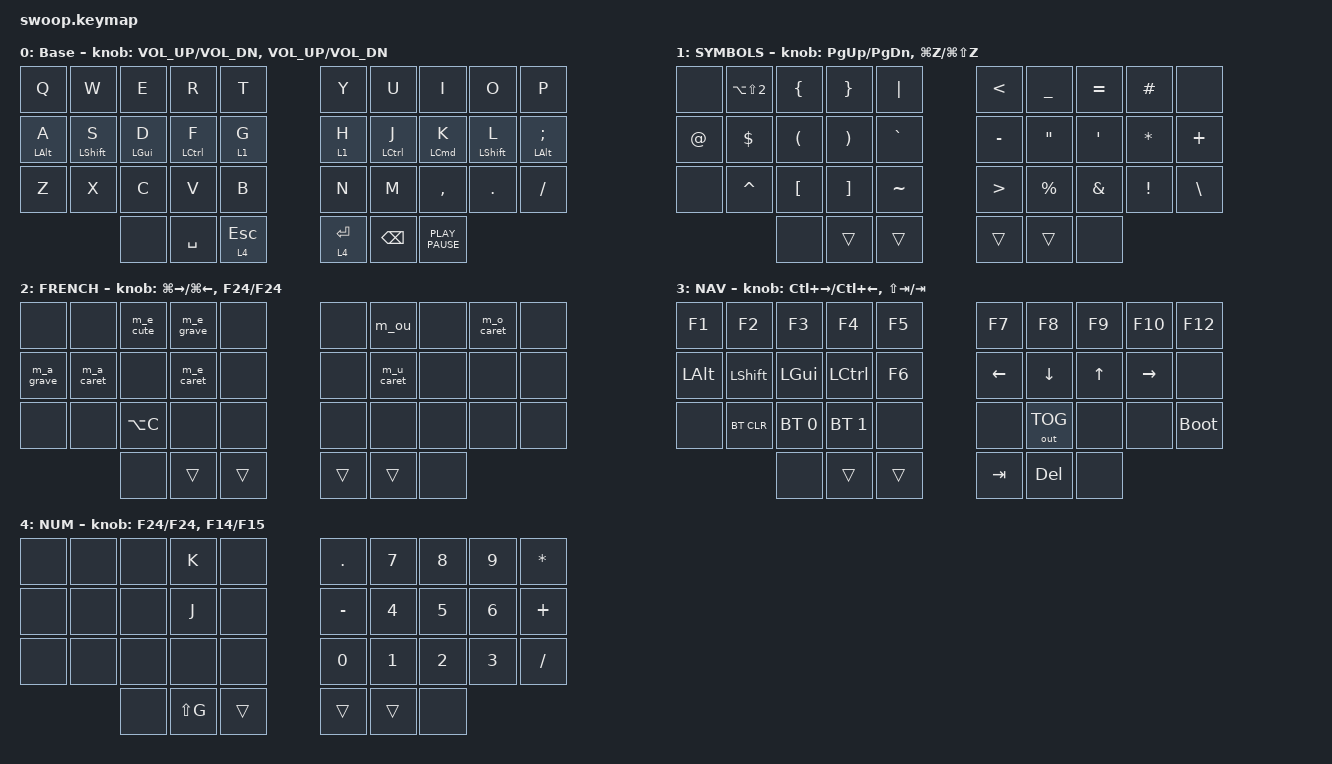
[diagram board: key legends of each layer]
/*
 * Copyright (c) 2020 duckyb
 *
 * SPDX-License-Identifier: MIT
 */

#include <behaviors.dtsi>
#include <dt-bindings/zmk/bt.h>
#include <dt-bindings/zmk/keys.h>
#include <dt-bindings/zmk/outputs.h>

/ {
    behaviors {
        tab_esc_ctrl: tab_esc_ctrl {
            compatible = "zmk,behavior-tap-dance";
            label = "TAB_ESC_CTRL";
            #binding-cells = <0>;
            bindings =
                <&mt LCTRL ESC>,
                <&kp TAB>;
        };
        gqt: global-quick-tap {
            compatible = "zmk,behavior-hold-tap";
            label = "GLOBAL_QUICK_TAP";
            bindings =
                <&kp>,
                <&kp>;

            #binding-cells = <2>;
            quick-tap-ms = <180>;
            tapping-term-ms = <200>;
            global-quick-tap;
        };
        ltq: ltq {
            compatible = "zmk,behavior-hold-tap";
            label = "LTQ";
            bindings =
                <&mo>,
                <&kp>;

            #binding-cells = <2>;
            global-quick-tap;
            tapping-term-ms = <200>;
            quick-tap-ms = <180>;
        };
    };

    combos {
        compatible = "zmk,combos";

        capslock {
            bindings = <&kp CAPSLOCK>;
            key-positions = <11 18>;
            layers = <0>;
        };

        dh {
            bindings = <&m_paren_quote>;
            key-positions = <12 15>;
            layers = <0>;
        };

        gh {
            bindings = <&kp MINUS>;
            key-positions = <14 15>;
            layers = <0>;
        };

        s, {
            bindings = <&m_lt_gt_left>;
            key-positions = <11 27>;
            layers = <0>;
        };
    };

    macros {
        m_a_grave: m_a_grave {
            compatible = "zmk,behavior-macro";
            label = "M_A_GRAVE";
            #binding-cells = <0>;
            bindings = <&kp LA(GRAVE) &kp A>;
        };
        m_a_caret: m_a_caret {
            compatible = "zmk,behavior-macro";
            label = "M_A_CARET";
            #binding-cells = <0>;
            bindings = <&kp LA(I) &kp A>;
        };
        m_e_cute: m_e_cute {
            compatible = "zmk,behavior-macro";
            label = "M_E_CUTE";
            #binding-cells = <0>;
            bindings = <&kp LA(E) &kp E>;
        };
        m_e_grave: m_e_grave {
            compatible = "zmk,behavior-macro";
            label = "M_E_GRAVE";
            #binding-cells = <0>;
            bindings = <&kp LA(GRAVE) &kp E>;
        };
        m_e_caret: m_e_caret {
            compatible = "zmk,behavior-macro";
            label = "M_E_CARET";
            #binding-cells = <0>;
            bindings = <&kp LA(I) &kp E>;
        };
        m_ou: m_ou {
            compatible = "zmk,behavior-macro";
            label = "M_OU";
            #binding-cells = <0>;
            bindings = <&kp O &kp LA(GRAVE) &kp U>;
        };
        m_u_caret: m_u_caret {
            compatible = "zmk,behavior-macro";
            label = "M_U_CARET";
            #binding-cells = <0>;
            bindings = <&kp LA(I) &kp U>;
        };
        m_o_caret: m_o_caret {
            compatible = "zmk,behavior-macro";
            label = "M_O_CARET";
            #binding-cells = <0>;
            bindings = <&kp LA(I) &kp O>;
        };
        m_screen_cap: m_screen_cap {
            compatible = "zmk,behavior-macro";
            label = "M_SCREEN_CAP";
            #binding-cells = <0>;
            bindings = <&kp>;
        };
        m_screen_rec: m_screen_rec {
            compatible = "zmk,behavior-macro";
            label = "M_SCREEN_REC";
            #binding-cells = <0>;
            bindings = <>;
        };
    };

    keymap {
        compatible = "zmk,keymap";

        base {
            label = "Base";
            bindings = <
&kp Q        &kp W         &kp E        &kp R                &kp T           &kp Y        &kp U                &kp I             &kp O         &kp P
&gqt LALT A  &gqt LSHFT S  &gqt LGUI D  &gqt LEFT_CONTROL F  &lt 1 G         &lt 1 H      &gqt LEFT_CONTROL J  &gqt LCMD K       &gqt LSHFT L  &gqt LALT SEMI
&kp Z        &kp X         &kp C        &kp V                &kp B           &kp N        &kp M                &kp COMMA         &kp DOT       &kp FSLH
                           &none        &kp SPACE            &lt 4 ESCAPE    &lt 4 ENTER  &kp BACKSPACE        &kp K_PLAY_PAUSE
            >;

            sensor-bindings =
                <&inc_dec_kp C_VOL_UP C_VOL_DN>,
                <&inc_dec_kp C_VOLUME_UP C_VOL_DN>;
        };

        symbols {
            label = "SYMBOLS";
            bindings = <
&none   &kp LA(LS(N2))  &kp LEFT_BRACE        &kp RIGHT_BRACE        &kp PIPE     &kp LESS_THAN     &kp UNDER          &kp EQUAL      &kp HASH         &none
&kp AT  &kp DOLLAR      &kp LEFT_PARENTHESIS  &kp RIGHT_PARENTHESIS  &kp GRAVE    &kp MINUS         &kp DOUBLE_QUOTES  &kp APOS       &kp ASTERISK     &kp PLUS
&none   &kp CARET       &kp LEFT_BRACKET      &kp RIGHT_BRACKET      &kp TILDE    &kp GREATER_THAN  &kp PERCENT        &kp AMPERSAND  &kp EXCLAMATION  &kp BACKSLASH
                        &none                 &trans                 &trans       &trans            &trans             &none
            >;

            sensor-bindings =
                <&inc_dec_kp PAGE_UP PAGE_DOWN>,
                <&inc_dec_kp LG(Z) LG(LS(Z))>;
        };

        french {
            label = "FRENCH";
            bindings = <
&none       &none       &m_e_cute  &m_e_grave  &none     &none   &m_ou       &none  &m_o_caret  &none
&m_a_grave  &m_a_caret  &none      &m_e_caret  &none     &none   &m_u_caret  &none  &none       &none
&none       &none       &kp LA(C)  &none       &none     &none   &none       &none  &none       &none
                        &none      &trans      &trans    &trans  &trans      &none
            >;

            sensor-bindings =
                <&inc_dec_kp LG(RIGHT) LG(LEFT)>,
                <&inc_dec_kp F24 F24>;
        };

        navigation {
            label = "NAV";
            bindings = <
&kp F1        &kp F2          &kp F3        &kp F4            &kp F5    &kp F7    &kp F8        &kp F9  &kp F10    &kp F12
&kp LEFT_ALT  &kp LEFT_SHIFT  &kp LEFT_GUI  &kp LEFT_CONTROL  &kp F6    &kp LEFT  &kp DOWN      &kp UP  &kp RIGHT  &none
&none         &bt BT_CLR      &bt BT_SEL 0  &bt BT_SEL 1      &none     &none     &out OUT_TOG  &none   &none      &bootloader
                              &none         &trans            &trans    &kp TAB   &kp DELETE    &none
            >;

            sensor-bindings =
                <&inc_dec_kp LC(RIGHT) LC(LEFT)>,
                <&inc_dec_kp LS(TAB) TAB>;
        };

        numpad {
            bindings = <
&none  &none  &none  &kp K      &none     &kp DOT       &kp N7  &kp N8  &kp N9  &kp STAR
&none  &none  &none  &kp J      &none     &kp MINUS     &kp N4  &kp N5  &kp N6  &kp PLUS
&none  &none  &none  &none      &none     &kp NUMBER_0  &kp N1  &kp N2  &kp N3  &kp FSLH
              &none  &kp LS(G)  &trans    &trans        &trans  &none
            >;

            label = "NUM";
            sensor-bindings =
                <&inc_dec_kp F24 F24>,
                <&inc_dec_kp F14 F15>;
        };
    };
};
